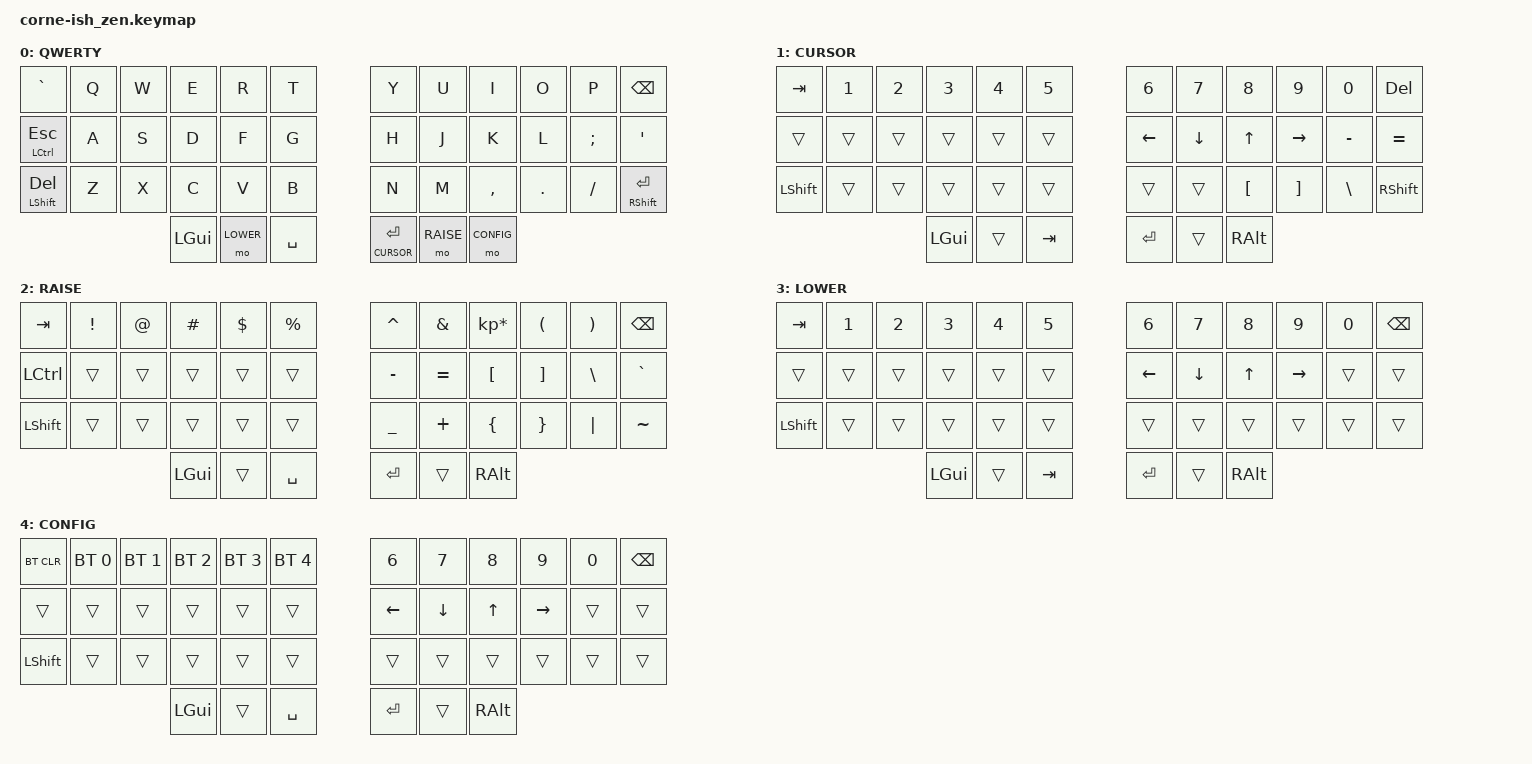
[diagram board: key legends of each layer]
/*
*
* Copyright (c) 2022 Matt Grau
* SPDX-License-Identifier: MIT
*
*/

#include <behaviors.dtsi>
#include <dt-bindings/zmk/keys.h>
#include <dt-bindings/zmk/bt.h>

#define QWERTY 0
#define CURSOR 1
#define RAISE  2
#define LOWER  3
#define CONFIG 4
#define GAMING 5

/ {
        keymap {
                compatible = "zmk,keymap";

                default_layer {
                        label = "QWERTY";
// -----------------------------------------------------------------------------------------
// |  `   |  Q  |  W  |  E  |  R  |  T  |   |  Y  |  U   |  I  |  O  |  P  | BKSP |
// | CTRL |  A  |  S  |  D  |  F  |  G  |   |  H  |  J   |  K  |  L  |  ;  |  '   |
// | SHFT |  Z  |  X  |  C  |  V  |  B  |   |  N  |  M   |  ,  |  .  |  /  | ESC  |
//                    | GUI | LWR | SPC |   | ENT | RSE  | ALT |
                        bindings = <
   &kp GRAVE     &kp Q &kp W &kp E &kp R &kp T   &kp Y &kp U  &kp I     &kp O   &kp P    &kp BSPC
   &mt LCTRL ESC &kp A &kp S &kp D &kp F &kp G   &kp H &kp J  &kp K     &kp L   &kp SEMI &kp SQT
   &mt LSHFT DEL &kp Z &kp X &kp C &kp V &kp B   &kp N &kp M  &kp COMMA &kp DOT &kp FSLH &mt RSHFT RET
                  &kp LGUI &mo LOWER &kp SPACE   &lt CURSOR RET &mo RAISE &mo CONFIG
                        >;
                };
                
                cursor_layer {
                        label = "CURSOR";
// -----------------------------------------------------------------------------------------
// |  TAB |  1  |  2  |  3  |  4  |  5  |   |  6  |  7  |  8  |  9  |  0  | BKSP |
// | BTCLR| BT1 | BT2 | BT3 | BT4 | BT5 |   | LFT | DWN |  UP | RGT |     |      |
// | SHFT |     |     |     |     |     |   |     |     |     |     |     |      |
//                    | GUI |     | SPC |   | ENT |     | ALT |
                        bindings = <
   &kp TAB    &kp N1       &kp N2       &kp N3       &kp N4       &kp N5         &kp N6   &kp N7   &kp N8 &kp N9    &kp N0 &kp DEL
   &trans     &trans       &trans       &trans       &trans       &trans         &kp LEFT &kp DOWN &kp UP &kp RIGHT &kp MINUS &kp EQUAL
   &kp LSHFT  &trans       &trans       &trans       &trans       &trans         &trans   &trans   &kp LBKT   &kp RBKT  &kp BSLH  &kp RSHFT
                          	        &kp LGUI     &trans       &kp TAB        &kp RET  &trans   &kp RALT
                        >;
                };

                raise_layer {
                        label = "RAISE";
// -----------------------------------------------------------------------------------------
// |  TAB |  !  |  @  |  #  |  $  |  %  |   |  ^  |  &  |  *  |  (  |  )  | BKSP |
// | CTRL |     |     |     |     |     |   |  -  |  =  |  [  |  ]  |  \  |  `   |
// | SHFT |     |     |     |     |     |   |  _  |  +  |  {  |  }  | "|" |  ~   |
//                    | GUI |     | SPC |   | ENT |     | ALT |
                        bindings = <
   &kp  TAB  &kp EXCL &kp AT &kp HASH &kp DLLR &kp PRCNT   &kp CARET &kp AMPS  &kp KP_MULTIPLY &kp LPAR &kp RPAR &kp BSPC
   &kp LCTRL &trans   &trans &trans   &trans   &trans      &kp MINUS &kp EQUAL &kp LBKT        &kp RBKT &kp BSLH &kp GRAVE
   &kp LSHFT &trans   &trans &trans   &trans   &trans      &kp UNDER &kp PLUS  &kp LBRC        &kp RBRC &kp PIPE &kp TILDE
                    	     &kp LGUI &trans   &kp SPACE   &kp RET   &trans    &kp RALT
                        >;
                };

                lower_layer {
                        label = "LOWER";
// -----------------------------------------------------------------------------------------
// |  TAB |  1  |  2  |  3  |  4  |  5  |   |  6  |  7  |  8  |  9  |  0  | BKSP |
// | BTCLR| BT1 | BT2 | BT3 | BT4 | BT5 |   | LFT | DWN |  UP | RGT |     |      |
// | SHFT |     |     |     |     |     |   |     |     |     |     |     |      |
//                    | GUI |     | SPC |   | ENT |     | ALT |
                        bindings = <
   &kp TAB    &kp N1       &kp N2       &kp N3       &kp N4       &kp N5         &kp N6   &kp N7   &kp N8 &kp N9    &kp N0 &kp BSPC
   &trans     &trans       &trans       &trans       &trans       &trans         &kp LEFT &kp DOWN &kp UP &kp RIGHT &trans &trans
   &kp LSHFT  &trans       &trans       &trans       &trans       &trans         &trans   &trans   &trans &trans    &trans &trans
                          	        &kp LGUI     &trans       &kp TAB        &kp RET  &trans   &kp RALT
                        >;
                };

                config_layer {
                        label = "CONFIG";
// -----------------------------------------------------------------------------------------
// |  TAB |  1  |  2  |  3  |  4  |  5  |   |  6  |  7  |  8  |  9  |  0  | BKSP |
// | BTCLR| BT1 | BT2 | BT3 | BT4 | BT5 |   | LFT | DWN |  UP | RGT |     |      |
// | SHFT |     |     |     |     |     |   |     |     |     |     |     |      |
//                    | GUI |     | SPC |   | ENT |     | ALT |
                        bindings = <
   &bt BT_CLR &bt BT_SEL 0 &bt BT_SEL 1 &bt BT_SEL 2 &bt BT_SEL 3 &bt BT_SEL 4   &kp N6   &kp N7   &kp N8 &kp N9    &kp N0 &kp BSPC
   &trans     &trans       &trans       &trans       &trans       &trans         &kp LEFT &kp DOWN &kp UP &kp RIGHT &trans &trans
   &kp LSHFT  &trans       &trans       &trans       &trans       &trans         &trans   &trans   &trans &trans    &trans &trans
                          	        &kp LGUI     &trans       &kp SPACE      &kp RET  &trans   &kp RALT
                        >;
                };
        };
};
